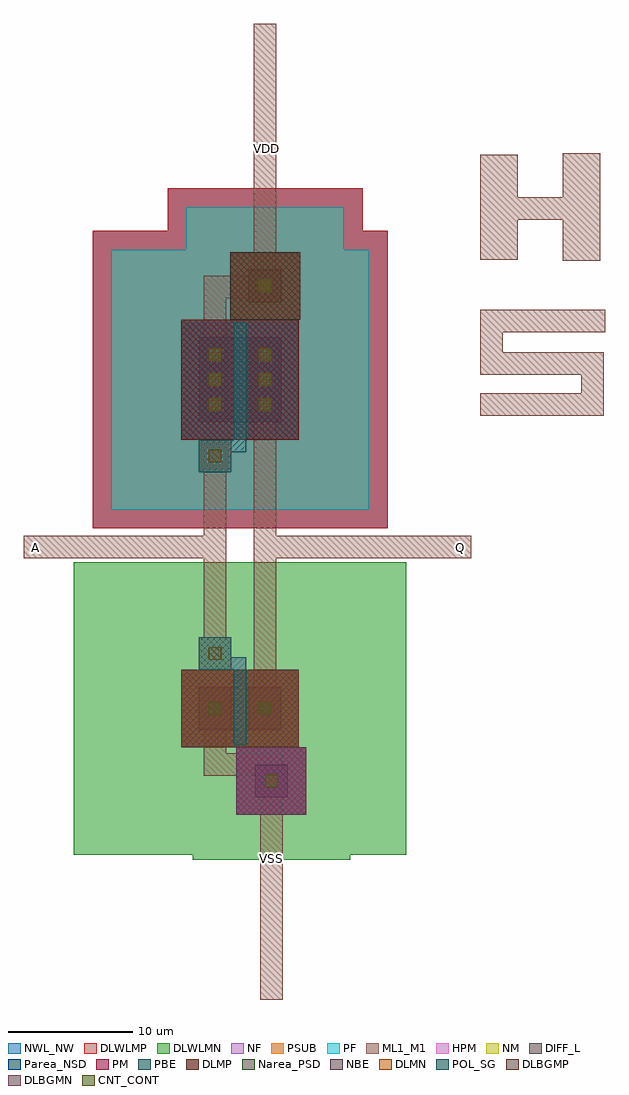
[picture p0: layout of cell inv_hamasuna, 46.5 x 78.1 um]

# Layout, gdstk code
import gdstk
lib = gdstk.Library(unit=1e-6, precision=1e-07)
def R(c, l, rs):  # rectangles x0, y0, x1, y1
    for r in rs: c.add(gdstk.rectangle(r[:2], r[2:], *l))
DIFF_L = (3, 0)
NM = (7, 0)
POL_SG = (8, 0)
Narea_PSD = (9, 0)
CNT_CONT = (11, 0)
ML1_M1 = (13, 0)
NF = (25, 0)
PF = (26, 0)
Parea_NSD = (28, 0)
HPM = (33, 0)
PM = (35, 0)
NWL_NW = (36, 0)
PSUB = (140, 0)
PBE = (146, 0)
NBE = (147, 0)
DLWLMP = (150, 0)
DLWLMN = (151, 0)
DLMP = (157, 0)
DLMN = (158, 0)
DLBGMP = (177, 0)
DLBGMN = (178, 0)

dcont = lib.new_cell('dcont')
R(dcont, DIFF_L, [(-1.3,-1.3,1.3,1.3)])
R(dcont, CNT_CONT, [(-0.5,-0.5,0.5,0.5)])
R(dcont, ML1_M1, [(-1.3,-1.3,1.3,1.3), (-0.5,-0.5,0.5,0.5)])

pcont = lib.new_cell('pcont')
R(pcont, POL_SG, [(-1.3,-1.3,1.3,1.3)])
R(pcont, CNT_CONT, [(-0.5,-0.5,0.5,0.5)])
R(pcont, ML1_M1, [(-1.3,-1.3,1.3,1.3), (-0.5,-0.5,0.5,0.5)])

c_dcont = lib.new_cell('DCONT')
R(c_dcont, DIFF_L, [(-1.3,-1.3,1.3,1.3)])
R(c_dcont, CNT_CONT, [(-0.5,-0.5,0.5,0.5)])
R(c_dcont, ML1_M1, [(-1.3,-1.3,1.3,1.3), (-0.5,-0.5,0.5,0.5)])

nsubcont = lib.new_cell('nsubcont')
R(nsubcont, NM, [(-2.8,-2.7,2.8,2.7)])
R(nsubcont, Narea_PSD, [(-2.8,-2.7,2.8,2.7)])
R(nsubcont, NF, [(-6.3,-6.3,6.3,6.3)])
R(nsubcont, PF, [(-6.3,-6.3,6.3,6.3)])
R(nsubcont, HPM, [(-2.8,-2.7,2.8,2.7)])
R(nsubcont, PM, [(-2.8,-2.7,2.8,2.7)])
R(nsubcont, NWL_NW, [(-7.8,-7.8,7.8,7.8)])
R(nsubcont, PSUB, [(-6.3,-6.3,6.3,6.3)])
R(nsubcont, DLWLMP, [(-7.8,-7.8,7.8,7.8)])
R(nsubcont, DLBGMP, [(-2.8,-2.7,2.8,2.7)])
nsubcont.add(gdstk.Reference(c_dcont, (0,0)))

c_mp = lib.new_cell('MP')
R(c_mp, DIFF_L, [(0,3.6,6.6,10.4)])
R(c_mp, NM, [(-1.4,2.2,8,11.8)])
R(c_mp, NF, [(-7,-3.4,13.6,17.4)])
R(c_mp, PF, [(-7,-3.4,13.6,17.4)])
R(c_mp, Parea_NSD, [(-1.4,2.2,8,11.8)])
R(c_mp, HPM, [(-1.4,2.2,8,11.8)])
R(c_mp, NWL_NW, [(-8.5,-4.9,15.1,18.9)])
R(c_mp, PSUB, [(-7,-3.4,13.6,17.4)])
R(c_mp, PBE, [(-1.4,2.2,8,11.8)])
R(c_mp, DLWLMP, [(-8.5,-4.9,15.1,18.9)])
R(c_mp, DLMP, [(-1.4,2.2,8,11.8)])
c_mp.add(gdstk.FlexPath([(1.3,3.6),(1.3,10.4)], 2.6, ends="flush", simple_path=True, layer=13, datatype=0))  # ML1_M1
c_mp.add(gdstk.FlexPath([(5.3,3.6),(5.3,10.4)], 2.6, ends="flush", simple_path=True, layer=13, datatype=0))  # ML1_M1
c_mp.add(gdstk.FlexPath([(1.3,9.4),(1.3,12.7)], 1.8, ends="flush", simple_path=True, layer=13, datatype=0))  # ML1_M1
c_mp.add(gdstk.FlexPath([(5.3,1.3),(5.3,4.6)], 1.8, ends="flush", simple_path=True, layer=13, datatype=0))  # ML1_M1
c_mp.add(gdstk.FlexPath([(3.3,3.6),(3.3,10.4)], 1, ends=(1.2, 1.2), simple_path=True, layer=8, datatype=0))  # POL_SG
c_mp.add(gdstk.FlexPath([(1.3,1.7),(3.3,1.7),(3.3,2.4)], 1, ends="flush", simple_path=True, layer=8, datatype=0))  # POL_SG
c_mp.add(gdstk.Reference(dcont, (1.3,5)))
c_mp.add(gdstk.Reference(dcont, (1.3,7)))
c_mp.add(gdstk.Reference(dcont, (1.3,9)))
c_mp.add(gdstk.Reference(dcont, (5.3,5)))
c_mp.add(gdstk.Reference(dcont, (5.3,7)))
c_mp.add(gdstk.Reference(dcont, (5.3,9)))
c_mp.add(gdstk.Reference(pcont, (1.3,0.9)))
c_mp.add(gdstk.Reference(nsubcont, (5.3,14.5)))

psubcont = lib.new_cell('psubcont')
R(psubcont, NM, [(-2.8,-2.7,2.8,2.7)])
R(psubcont, Parea_NSD, [(-2.8,-2.7,2.8,2.7)])
R(psubcont, HPM, [(-2.8,-2.7,2.8,2.7)])
R(psubcont, PM, [(-2.8,-2.7,2.8,2.7)])
R(psubcont, DLWLMN, [(-6.3,-6.3,6.3,6.3)])
R(psubcont, DLBGMN, [(-2.8,-2.7,2.8,2.7)])
psubcont.add(gdstk.Reference(c_dcont, (0,0)))

mn_1 = lib.new_cell('MN$1')
R(mn_1, DIFF_L, [(0,3.6,6.6,7)])
R(mn_1, Narea_PSD, [(-1.4,2.2,8,8.4)])
R(mn_1, HPM, [(-1.4,2.2,8,8.4)])
R(mn_1, PM, [(-1.4,2.2,8,8.4)])
R(mn_1, NBE, [(-1.4,2.2,8,8.4)])
R(mn_1, DLWLMN, [(-10,-6.4,16.6,17)])
R(mn_1, DLMN, [(-1.4,2.2,8,8.4)])
mn_1.add(gdstk.FlexPath([(1.3,3.6),(1.3,7)], 2.6, ends="flush", simple_path=True, layer=13, datatype=0))  # ML1_M1
mn_1.add(gdstk.FlexPath([(5.3,3.6),(5.3,7)], 2.6, ends="flush", simple_path=True, layer=13, datatype=0))  # ML1_M1
mn_1.add(gdstk.FlexPath([(1.3,1.3),(1.3,4.6)], 1.8, ends="flush", simple_path=True, layer=13, datatype=0))  # ML1_M1
mn_1.add(gdstk.FlexPath([(5.3,6),(5.3,9.3)], 1.8, ends="flush", simple_path=True, layer=13, datatype=0))  # ML1_M1
mn_1.add(gdstk.FlexPath([(3.3,3.6),(3.3,7)], 1, ends=(1.2, 1.2), simple_path=True, layer=8, datatype=0))  # POL_SG
mn_1.add(gdstk.FlexPath([(1.3,8.9),(3.3,8.9),(3.3,8.2)], 1, ends="flush", simple_path=True, layer=8, datatype=0))  # POL_SG
mn_1.add(gdstk.Reference(dcont, (1.3,5.3)))
mn_1.add(gdstk.Reference(dcont, (5.3,5.3)))
mn_1.add(gdstk.Reference(pcont, (1.3,9.7)))
mn_1.add(gdstk.Reference(psubcont, (5.8,-0.5)))

inv_hamasuna = lib.new_cell('inv_hamasuna')
inv_hamasuna.add(gdstk.FlexPath([(5.4,0.3),(5.4,-15.6),(5.4,-15.6),(5.4,-15.6)], 1.8, ends="extended", simple_path=True, layer=13, datatype=0))  # ML1_M1
inv_hamasuna.add(gdstk.FlexPath([(9.4,-16.8),(9.4,1.6)], 1.8, ends="extended", simple_path=True, layer=13, datatype=0))  # ML1_M1
inv_hamasuna.add(gdstk.FlexPath([(9.9,-24.4),(5.4,-24.4),(5.4,-21.7),(5.4,-21.7)], 1.8, ends="extended", simple_path=True, layer=13, datatype=0))  # ML1_M1
inv_hamasuna.add(gdstk.FlexPath([(5.4,11.2),(5.4,13.8),(9.5,13.8),(9.5,13.8)], 1.8, ends="extended", simple_path=True, layer=13, datatype=0))  # ML1_M1
inv_hamasuna.add(gdstk.FlexPath([(5.4,-7),(-9,-7)], 1.8, ends="extended", simple_path=True, layer=13, datatype=0))  # ML1_M1
inv_hamasuna.add(gdstk.FlexPath([(9.4,-7),(25,-7)], 1.8, ends="extended", simple_path=True, layer=13, datatype=0))  # ML1_M1
inv_hamasuna.add(gdstk.FlexPath([(9.9,-25.9),(9.9,-42.3),(9.9,-42.3)], 1.8, ends="extended", simple_path=True, layer=13, datatype=0))  # ML1_M1
inv_hamasuna.add(gdstk.FlexPath([(9.4,13.8),(9.4,34),(9.4,34)], 1.8, ends="extended", simple_path=True, layer=13, datatype=0))  # ML1_M1
inv_hamasuna.add(gdstk.FlexPath([(28.1,22.9),(28.1,17.5),(28.1,17.5)], 3, ends="extended", simple_path=True, layer=13, datatype=0))  # ML1_M1
inv_hamasuna.add(gdstk.FlexPath([(28.4,20.1),(34.1,20.1)], 1.8, ends="extended", simple_path=True, layer=13, datatype=0))  # ML1_M1
inv_hamasuna.add(gdstk.FlexPath([(34.7,23),(34.7,17.4)], 3, ends="extended", simple_path=True, layer=13, datatype=0))  # ML1_M1
inv_hamasuna.add(gdstk.FlexPath([(35.7,11.1),(27.5,11.1),(27.5,7.7),(35.6,7.7),(35.6,4.4),(27.5,4.4)], 1.8, ends="extended", simple_path=True, layer=13, datatype=0))  # ML1_M1
inv_hamasuna.add(gdstk.Reference(c_mp, (4.1,-0.6)))
inv_hamasuna.add(gdstk.Reference(mn_1, (4.1,-25.2)))
inv_hamasuna.add(gdstk.Label('VDD', (9.5,24.9), layer=13, texttype=0))
inv_hamasuna.add(gdstk.Label('Q', (25,-7), layer=13, texttype=0))
inv_hamasuna.add(gdstk.Label('A', (-9,-7), layer=13, texttype=0))
inv_hamasuna.add(gdstk.Label('VSS', (9.9,-31.9), layer=13, texttype=0))

lib.write_gds('inv_hamasuna.gds')
